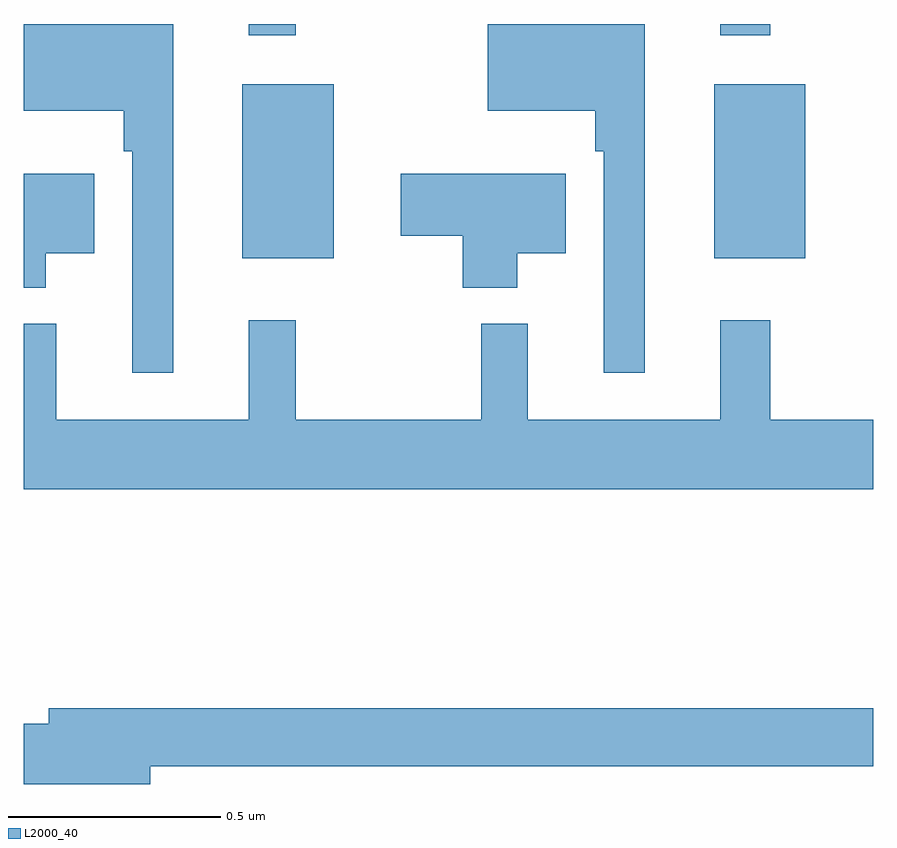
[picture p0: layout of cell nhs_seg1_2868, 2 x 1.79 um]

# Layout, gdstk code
import gdstk
lib = gdstk.Library(unit=1e-6, precision=1e-09)
def R(c, l, rs):  # rectangles x0, y0, x1, y1
    for r in rs: c.add(gdstk.rectangle(r[:2], r[2:], *l))
def P(c, l, *ps):  # polygons
    for p in ps: c.add(gdstk.Polygon(p, *l))
L2000_40 = (2000, 40)

nhs_seg1_2868 = lib.new_cell('nhs_seg1_2868')
R(nhs_seg1_2868, L2000_40, [(147.515,513.647,147.73,514.057), (148.625,513.647,148.84,514.057), (147.53,514.173,147.64,514.199), (148.64,514.173,148.757,514.199)])
P(nhs_seg1_2868, L2000_40, [(148.462,514.199),(148.092,514.199),(148.092,513.995),(148.345,513.995),(148.345,513.899),(148.365,513.899),(148.365,513.378),(148.462,513.378)],
  [(147.352,514.199),(147,514.199),(147,513.995),(147.235,513.995),(147.235,513.899),(147.255,513.899),(147.255,513.378),(147.352,513.378)],
  [(147.052,513.659),(147.166,513.659),(147.166,513.847),(147,513.847),(147,513.578),(147.052,513.578)],
  [(148.162,513.659),(148.276,513.659),(148.276,513.847),(147.888,513.847),(147.888,513.7),(148.033,513.7),(148.033,513.578),(148.162,513.578)],
  [(149,513.268),(148.757,513.268),(148.757,513.502),(148.64,513.502),(148.64,513.268),(148.187,513.268),(148.187,513.493),(148.077,513.493),(148.077,513.268),(147.64,513.268),(147.64,513.502),(147.53,513.502),(147.53,513.268),(147.077,513.268),(147.077,513.493),(147,513.493),(147,513.104),(149,513.104)],
  [(147.298,512.452),(149,512.452),(149,512.588),(147.059,512.588),(147.059,512.552),(147,512.552),(147,512.41),(147.298,512.41)])

lib.write_gds('nhs_seg1_2868.gds')
